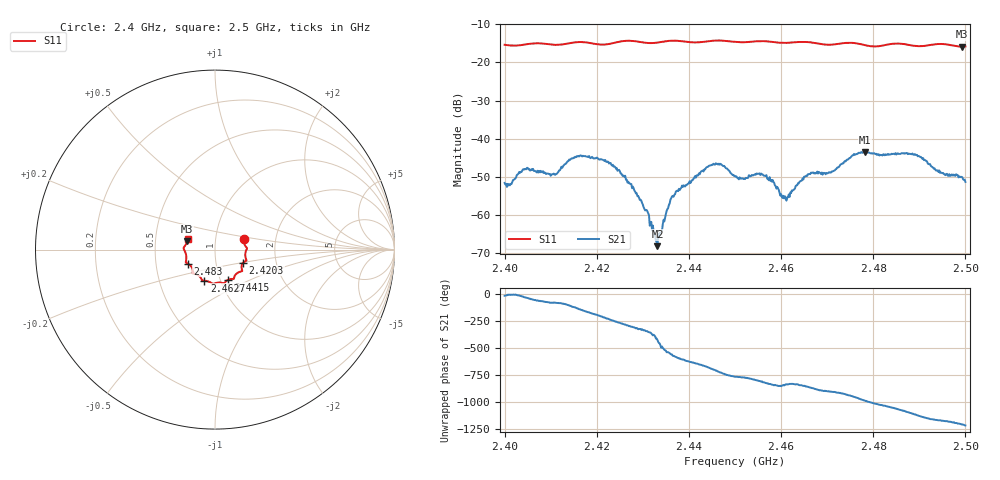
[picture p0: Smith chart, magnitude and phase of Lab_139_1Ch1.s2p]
# Hz S RI R 50
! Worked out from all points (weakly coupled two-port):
!   601 points, 2.4 GHz to 2.5 GHz, reference 50 ohm
!   highest |S21| = -43.53 dB at 2.4782 GHz (marker M1); lowest = -68.2 dB at 2.4332 GHz (marker M2)
!   lowest |S11| = -15.8 dB at 2.4993 GHz (marker M3), VSWR 1.38, Z = 36.5 + j3.54 ohm
!   |S11| at or under -10 dB: start of sweep to end of sweep
!   S12 and S22 are empty: the file has one direction only
!   S11 on the Smith chart (normalised r, x): 2.4 GHz: 1.37, +0.17; 2.4203 GHz: 1.35, -0.20; 2.4415 GHz: 1.09, -0.38; 2.4627 GHz: 0.84, -0.30; 2.483 GHz: 0.73, -0.12; 2.5 GHz: 0.73, +0.08
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2.4e9  0.1603 0.0586  0.00253 -0.000674  0 0  0 0
2.4045e9  0.1719 0.0164  0.00345 -0.00202  0 0  0 0
2.411e9  0.1693 -0.0183  0.000649 -0.00329  0 0  0 0
2.416667e9  0.1752 -0.0611  -0.00498 -0.00325  0 0  0 0
2.420333e9  0.157 -0.0729  -0.00512 0.00175  0 0  0 0
2.4275e9  0.1501 -0.1204  0.00143 0.00209  0 0  0 0
2.433167e9  0.1101 -0.1459  0.000159 -0.000353  0 0  0 0
2.433333e9  0.1093 -0.1471  5.94e-05 -0.000552  0 0  0 0
2.4365e9  0.1047 -0.1628  -0.00148 0.000972  0 0  0 0
2.4415e9  0.0745 -0.1675  0.000826 0.00296  0 0  0 0
2.446333e9  0.0498 -0.1882  0.00457 2.01e-05  0 0  0 0
2.45e9  0.031 -0.1835  0.00217 -0.0024  0 0  0 0
2.456333e9  -0.0124 -0.1902  -0.000611 -0.0032  0 0  0 0
2.460667e9  -0.0426 -0.1759  -0.00102 -0.00128  0 0  0 0
2.462667e9  -0.0596 -0.1737  -0.000904 -0.00191  0 0  0 0
2.466667e9  -0.0737 -0.1674  -0.00315 -0.00161  0 0  0 0
2.478167e9  -0.1239 -0.1151  3.44e-05 0.00666  0 0  0 0
2.483e9  -0.1531 -0.0775  0.00499 0.00358  0 0  0 0
2.483333e9  -0.1552 -0.0763  0.0052 0.00328  0 0  0 0
2.489e9  -0.1595 -0.043  0.00491 -0.00388  0 0  0 0
2.499333e9  -0.1542 0.0472  -0.00206 -0.00233  0 0  0 0
2.5e9  -0.1524 0.0563  -0.0021 -0.00171  0 0  0 0
